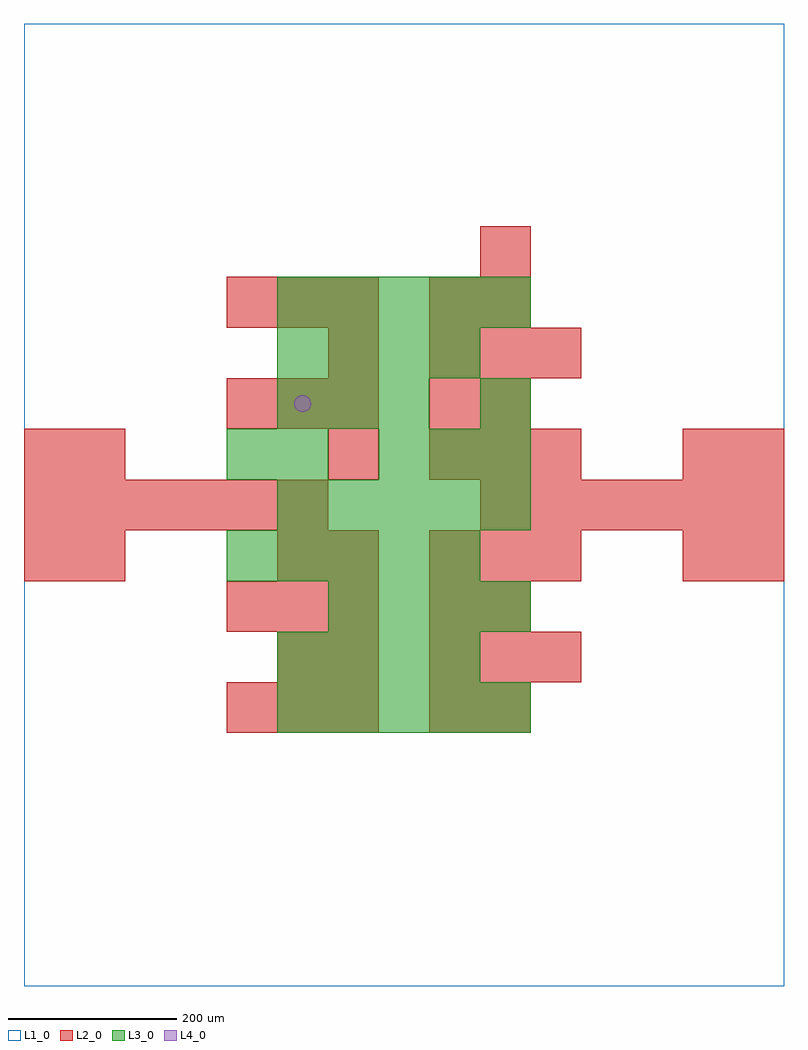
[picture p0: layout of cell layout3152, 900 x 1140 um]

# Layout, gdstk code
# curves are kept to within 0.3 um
import gdstk
lib = gdstk.Library(unit=1e-6, precision=1e-09)
def R(c, l, rs):  # rectangles x0, y0, x1, y1
    for r in rs: c.add(gdstk.rectangle(r[:2], r[2:], *l))
def A(c, l, x, y, w, h, nx, ny, dx, dy):  # array of equal rectangles
    R(c, l, [(x+i*dx, y+j*dy, x+i*dx+w, y+j*dy+h) for i in range(nx) for j in range(ny)])
def P(c, l, *ps):  # polygons
    for p in ps: c.add(gdstk.Polygon(p, *l))
L1_0 = (1, 0)
L2_0 = (2, 0)
L3_0 = (3, 0)
L4_0 = (4, 0)

layout3152 = lib.new_cell('layout3152')
R(layout3152, L1_0, [(0,0,900,1140)])
A(layout3152, L2_0, 240, 300, 60, 60, 3, 2, 60, 120)
A(layout3152, L2_0, 360, 360, 60, 60, 1, 4, 0, 120)
A(layout3152, L2_0, 480, 360, 60, 60, 3, 4, 60, 120)
A(layout3152, L2_0, 0, 540, 60, 60, 6, 1, 60, 0)
A(layout3152, L2_0, 540, 540, 60, 60, 6, 1, 60, 0)
A(layout3152, L2_0, 240, 660, 60, 60, 3, 2, 60, 120)
R(layout3152, L2_0, [(480,300,540,360), (540,300,600,360), (300,360,360,420), (480,420,540,480), (540,420,600,480), (0,480,60,540), (60,480,120,540), (300,480,360,540), (780,480,840,540), (840,480,900,540), (0,600,60,660), (60,600,120,660), (780,600,840,660), (840,600,900,660), (480,660,540,720), (540,660,600,720), (480,780,540,840), (540,780,600,840), (540,840,600,900)])
A(layout3152, L3_0, 300, 300, 60, 60, 5, 3, 60, 240)
A(layout3152, L3_0, 300, 360, 60, 60, 4, 2, 60, 360)
A(layout3152, L3_0, 360, 420, 60, 60, 4, 1, 60, 0)
A(layout3152, L3_0, 240, 480, 60, 60, 5, 1, 60, 0)
A(layout3152, L3_0, 420, 600, 60, 60, 3, 1, 60, 0)
A(layout3152, L3_0, 300, 660, 60, 60, 3, 1, 60, 0)
R(layout3152, L3_0, [(240,600,300,660), (300,600,360,660), (540,660,600,720)])
P(layout3152, L4_0, [(340,690),(339.239,693.827),(337.071,697.071),(333.827,699.239),(330,700),(326.173,699.239),(322.929,697.071),(320.761,693.827),(320,690),(320.761,686.173),(322.929,682.929),(326.173,680.761),(330,680),(333.827,680.761),(337.071,682.929),(339.239,686.173)])

lib.write_gds('layout3152.gds')
